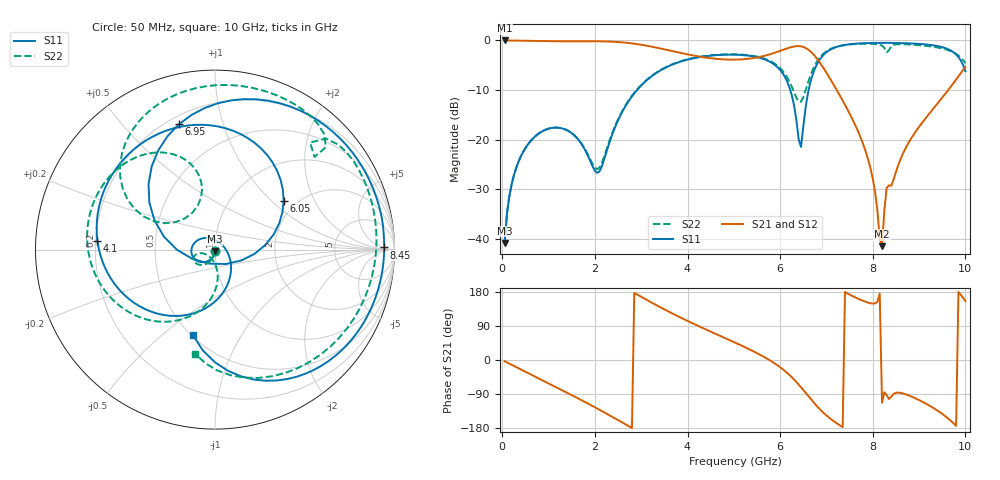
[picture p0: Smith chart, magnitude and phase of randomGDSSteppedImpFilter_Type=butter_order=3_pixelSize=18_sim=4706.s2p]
! freq	dB(S11)	phase(S11)	dB(S12)	phase(S12)
!  dB(S21)	phase(S21)	dB(S22)	phase(S22)
!S-par simulation data
#  GHz  S  DB  R 50
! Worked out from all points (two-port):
!   200 points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, 50 MHz to 10 GHz, reference 50 ohm
!   highest |S21| = -0.01 dB at 50 MHz (marker M1); lowest = -41.5 dB at 8.2 GHz (marker M2)
!   |S21| within 3 dB of the highest: start of sweep to 4.107 GHz; 5.702 GHz to 6.737 GHz (1.036 GHz wide, 16.7 % of centre)
!   lowest |S11| = -40.8 dB at 50 MHz (marker M3), VSWR 1.02, Z = 50 - j0.91 ohm
!   |S11| at or under -10 dB: start of sweep to 2.909 GHz; 6.218 GHz to 6.615 GHz (397.1 MHz wide, 6.19 % of centre)
!   |S22| runs from -40.8 to -0.7 dB; largest |S21 - S12| = 0
!   S11 on the Smith chart (normalised r, x): 50 MHz: 1.00, -0.02; 4.1 GHz: 0.21, +0.04; 6.05 GHz: 1.71, +1.19; 6.95 GHz: 0.24, +0.72; 8.45 GHz: 33, +7; 10 GHz: 0.51, -0.64
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0.05  -40.80 -92.0  -0.01 -3.2  -0.01 -3.2  -40.81 -90.6
0.25  -27.20 -107.4  -0.03 -15.6  -0.03 -15.6  -27.18 -103.4
0.6  -20.41 -132.6  -0.09 -37.2  -0.09 -37.2  -20.39 -122.5
1.75  -21.46 129.8  -0.16 -108.6  -0.16 -108.6  -21.34 -166.6
2.1  -26.37 31.6  -0.18 -131.4  -0.18 -131.4  -25.60 -116.1
2.6  -14.22 -67.0  -0.40 -165.6  -0.40 -165.6  -14.06 -87.1
3.4  -6.12 -135.4  -1.59 140.0  -1.59 140.0  -6.04 -126.3
4.1  -3.65 175.8  -2.99 97.3  -2.99 97.3  -3.58 -161.8
5.05  -2.88 115.6  -3.87 44.6  -3.87 44.6  -2.80 154.7
5.6  -3.62 77.6  -3.24 11.6  -3.24 11.6  -3.49 128.6
6.05  -6.57 35.5  -1.93 -23.8  -1.93 -23.8  -6.09 105.8
6.45  -21.46 -112.3  -1.19 -71.9  -1.19 -71.9  -12.36 133.7
6.7  -6.94 144.4  -2.62 -108.9  -2.62 -108.9  -5.98 153.2
6.95  -2.78 106.0  -5.75 -141.0  -5.75 -141.0  -2.54 133.9
7.3  -1.10 70.3  -11.27 -173.3  -11.27 -173.3  -1.08 106.9
7.85  -0.54 32.5  -22.46 153.4  -22.46 153.4  -0.67 71.2
8.2  -0.48 13.3  -41.46 -112.6  -41.46 -112.6  -1.05 46.8
8.35  -0.50 5.6  -29.21 -103.3  -29.21 -103.3  -1.96 48.4
8.45  -0.51 0.7  -28.01 -89.6  -28.01 -89.6  -0.89 40.4
9.2  -0.86 -36.4  -14.99 -118.7  -14.99 -118.7  -1.14 -17.6
9.65  -1.87 -64.8  -9.75 -156.5  -9.75 -156.5  -2.04 -60.3
10  -6.20 -104.7  -5.37 155.6  -5.37 155.6  -4.58 -100.7
